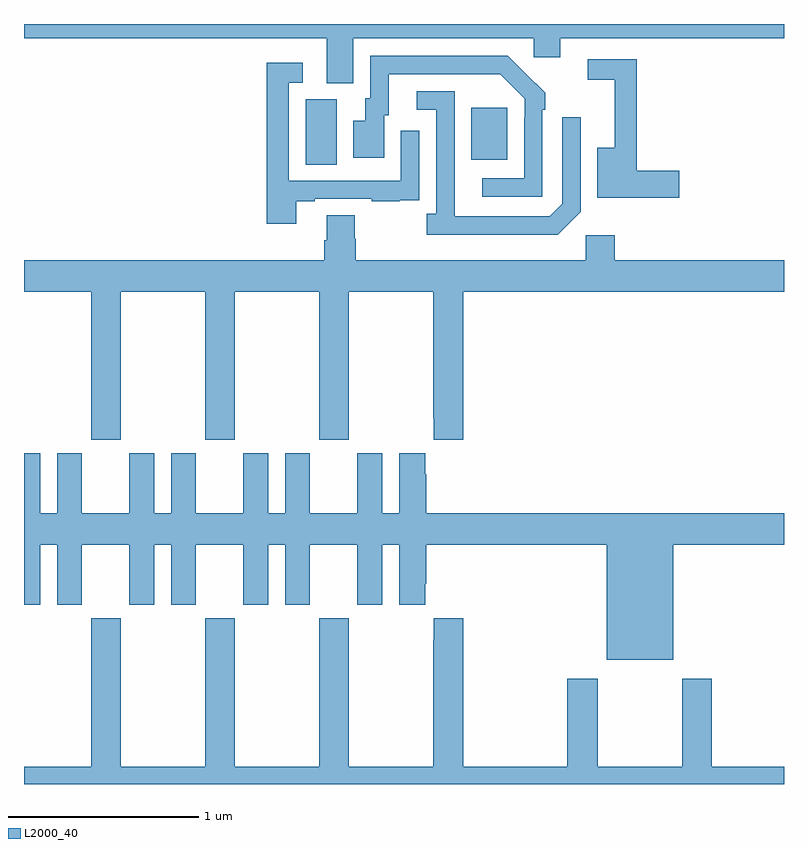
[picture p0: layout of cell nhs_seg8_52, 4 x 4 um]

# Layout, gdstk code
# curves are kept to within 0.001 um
import gdstk
lib = gdstk.Library(unit=1e-6, precision=1e-09)
def R(c, l, rs):  # rectangles x0, y0, x1, y1
    for r in rs: c.add(gdstk.rectangle(r[:2], r[2:], *l))
def P(c, l, *ps):  # polygons
    for p in ps: c.add(gdstk.Polygon(p, *l))
L2000_40 = (2000, 40)

nhs_seg8_52 = lib.new_cell('nhs_seg8_52')
R(nhs_seg8_52, L2000_40, [(114.482,1125.16,114.646,1125.504), (115.355,1125.185,115.543,1125.46)])
P(nhs_seg8_52, L2000_40, [(114.733,1125.824),(115.683,1125.824),(115.683,1125.726),(115.822,1125.726),(115.822,1125.824),(117,1125.824),(117,1125.9),(113,1125.9),(113,1125.824),(114.593,1125.824),(114.593,1125.589),(114.733,1125.589)],
  [(115.728,1125.449),(115.743,1125.449),(115.743,1125.537),(115.546,1125.732),(114.822,1125.732),(114.822,1125.51),(114.797,1125.51),(114.797,1125.391),(114.734,1125.391),(114.734,1125.195),(114.895,1125.195),(114.895,1125.42),(114.919,1125.42),(114.919,1125.636),(115.507,1125.636),(115.635,1125.507),(115.635,1125.407),(115.632,1125.407),(115.632,1125.087),(115.413,1125.087),(115.413,1124.991),(115.728,1124.991)],
  [(116.449,1125.128),(116.225,1125.128),(116.225,1125.714),(115.968,1125.714),(115.968,1125.606),(116.108,1125.606),(116.108,1125.25),(116.018,1125.25),(116.018,1124.986),(116.449,1124.986)],
  [(114.433,1124.967),(114.529,1124.967),(114.529,1124.979),(114.829,1124.979),(114.829,1124.967),(114.977,1124.967),(114.977,1124.973),(115.079,1124.973),(115.079,1125.082),(115.08,1125.082),(115.08,1125.337),(114.984,1125.337),(114.984,1125.075),(114.393,1125.075),(114.393,1125.591),(114.466,1125.591),(114.466,1125.697),(114.277,1125.697),(114.277,1124.85),(114.433,1124.85)],
  [(115.929,1124.913),(115.929,1125.409),(115.833,1125.409),(115.833,1124.955),(115.767,1124.889),(115.267,1124.889),(115.266,1125.546),(115.068,1125.546),(115.068,1125.45),(115.17,1125.45),(115.17,1124.902),(115.119,1124.902),(115.119,1124.792),(115.808,1124.792)],
  [(113.508,1124.492),(113.953,1124.492),(113.953,1123.713),(114.108,1123.713),(114.108,1124.492),(114.553,1124.492),(114.553,1123.713),(114.708,1123.713),(114.708,1124.492),(115.153,1124.492),(115.153,1123.825),(115.157,1123.825),(115.157,1123.713),(115.313,1123.713),(115.313,1124.492),(117,1124.492),(117,1124.656),(116.108,1124.656),(116.108,1124.788),(115.956,1124.788),(115.956,1124.656),(114.746,1124.656),(114.746,1124.769),(114.741,1124.769),(114.741,1124.894),(114.593,1124.894),(114.593,1124.762),(114.581,1124.762),(114.581,1124.656),(113,1124.656),(113,1124.492),(113.353,1124.492),(113.353,1123.713),(113.508,1123.713)],
  [(116.416,1123.16),(117,1123.16),(117,1123.324),(115.118,1123.324),(115.118,1123.529),(115.111,1123.529),(115.111,1123.642),(114.974,1123.642),(114.974,1123.324),(114.886,1123.324),(114.886,1123.642),(114.755,1123.642),(114.755,1123.324),(114.505,1123.324),(114.505,1123.642),(114.374,1123.642),(114.374,1123.324),(114.286,1123.324),(114.286,1123.642),(114.155,1123.642),(114.155,1123.324),(113.905,1123.324),(113.905,1123.642),(113.774,1123.642),(113.774,1123.324),(113.686,1123.324),(113.686,1123.642),(113.555,1123.642),(113.555,1123.324),(113.305,1123.324),(113.305,1123.642),(113.174,1123.642),(113.174,1123.324),(113.086,1123.324),(113.086,1123.642),(113,1123.642),(113,1122.843),(113.086,1122.843),(113.086,1123.16),(113.174,1123.16),(113.174,1122.843),(113.305,1122.843),(113.305,1123.16),(113.555,1123.16),(113.555,1122.843),(113.686,1122.843),(113.686,1123.16),(113.774,1123.16),(113.774,1122.843),(113.905,1122.843),(113.905,1123.16),(114.155,1123.16),(114.155,1122.843),(114.286,1122.843),(114.286,1123.16),(114.374,1123.16),(114.374,1122.843),(114.505,1122.843),(114.505,1123.16),(114.755,1123.16),(114.755,1122.843),(114.886,1122.843),(114.886,1123.16),(114.974,1123.16),(114.974,1122.843),(115.111,1122.843),(115.111,1122.955),(115.118,1122.955),(115.118,1123.16),(116.066,1123.16),(116.066,1122.554),(116.416,1122.554)],
  [(117,1121.992),(116.619,1121.992),(116.619,1122.454),(116.464,1122.454),(116.464,1121.992),(116.019,1121.992),(116.019,1122.454),(115.859,1122.454),(115.859,1121.992),(115.313,1121.992),(115.313,1122.772),(115.157,1122.772),(115.157,1122.659),(115.153,1122.659),(115.153,1121.992),(114.708,1121.992),(114.708,1122.772),(114.553,1122.772),(114.553,1121.992),(114.108,1121.992),(114.108,1122.772),(113.953,1122.772),(113.953,1121.992),(113.508,1121.992),(113.508,1122.772),(113.353,1122.772),(113.353,1121.992),(113,1121.992),(113,1121.9),(117,1121.9)])

lib.write_gds('nhs_seg8_52.gds')
